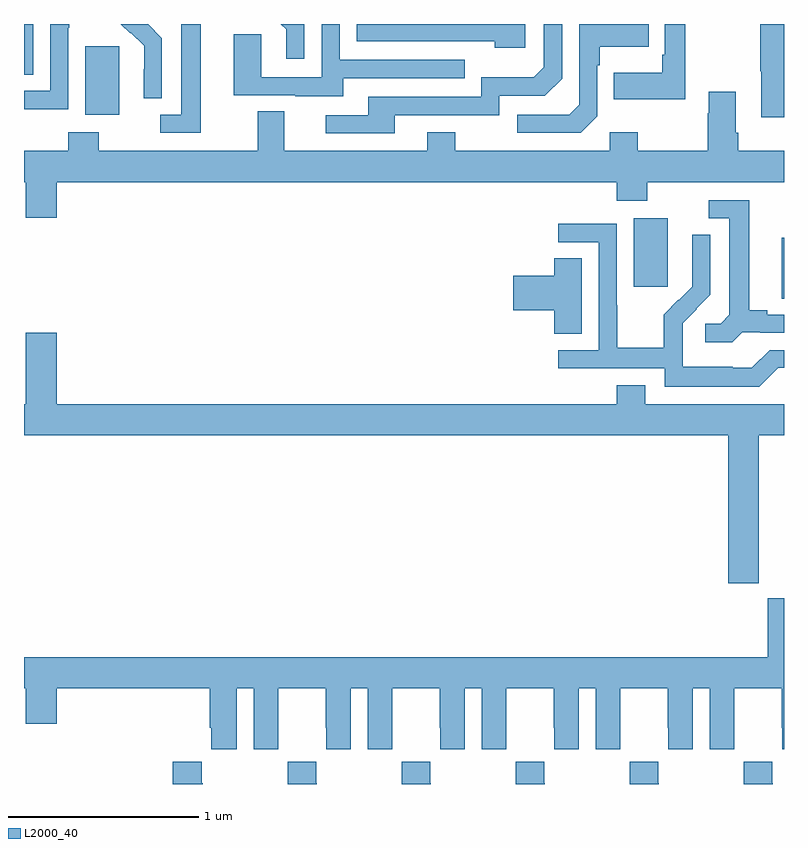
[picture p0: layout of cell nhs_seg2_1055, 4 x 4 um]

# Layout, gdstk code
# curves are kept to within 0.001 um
import gdstk
lib = gdstk.Library(unit=1e-6, precision=1e-09)
def R(c, l, rs):  # rectangles x0, y0, x1, y1
    for r in rs: c.add(gdstk.rectangle(r[:2], r[2:], *l))
def P(c, l, *ps):  # polygons
    for p in ps: c.add(gdstk.Polygon(p, *l))
L2000_40 = (2000, 40)

nhs_seg2_1055 = lib.new_cell('nhs_seg2_1055')
R(nhs_seg2_1055, L2000_40, [(168.989,648.355,169,648.675), (168.209,648.417,168.388,648.778), (165.323,649.322,165.502,649.683), (165,649.534,165.049,649.8)])
P(nhs_seg2_1055, L2000_40, [(168.481,649.8),(168.372,649.8),(168.372,649.639),(168.36,649.639),(168.36,649.543),(168.103,649.543),(168.103,649.403),(168.481,649.403)],
  [(167.638,649.8),(166.752,649.8),(166.752,649.71),(167.477,649.71),(167.477,649.676),(167.638,649.676)],
  [(165.726,649.726),(165.653,649.799),(165.654,649.8),(165.51,649.8),(165.558,649.752),(165.561,649.755),(165.632,649.685),(165.632,649.562),(165.63,649.562),(165.63,649.408),(165.726,649.408)],
  [(165.234,649.78),(165.237,649.78),(165.237,649.8),(165.138,649.8),(165.138,649.449),(165,649.449),(165,649.351),(165.234,649.351)],
  [(166.951,649.32),(167.502,649.32),(167.502,649.422),(167.742,649.422),(167.832,649.512),(167.832,649.8),(167.736,649.8),(167.736,649.572),(167.683,649.519),(167.406,649.519),(167.406,649.416),(166.811,649.416),(166.811,649.32),(166.587,649.32),(166.587,649.224),(166.951,649.224)],
  [(169,649.8),(168.874,649.8),(168.874,649.551),(168.881,649.551),(168.881,649.308),(169,649.308)],
  [(166.476,649.8),(166.352,649.8),(166.379,649.773),(166.379,649.617),(166.476,649.617)],
  [(165.931,649.8),(165.827,649.8),(165.827,649.323),(165.717,649.323),(165.717,649.227),(165.931,649.227)],
  [(168.018,649.314),(168.018,649.583),(168.031,649.583),(168.031,649.679),(168.287,649.679),(168.287,649.8),(167.922,649.8),(167.922,649.374),(167.871,649.323),(167.595,649.323),(167.595,649.227),(167.931,649.227)],
  [(166.681,649.515),(167.321,649.515),(167.321,649.611),(166.662,649.611),(166.662,649.8),(166.566,649.8),(166.566,649.521),(166.248,649.521),(166.248,649.745),(166.103,649.745),(166.103,649.425),(166.427,649.425),(166.427,649.421),(166.681,649.421)],
  [(165.172,648.968),(168.119,648.968),(168.119,648.869),(168.279,648.869),(168.279,648.968),(169,648.968),(169,649.132),(168.758,649.132),(168.758,649.228),(168.745,649.228),(168.745,649.444),(168.605,649.444),(168.605,649.331),(168.598,649.331),(168.598,649.132),(168.231,649.132),(168.231,649.231),(168.084,649.231),(168.084,649.132),(167.271,649.132),(167.271,649.231),(167.123,649.231),(167.123,649.132),(166.369,649.132),(166.369,649.34),(166.229,649.34),(166.229,649.132),(165.393,649.132),(165.393,649.231),(165.233,649.231),(165.233,649.132),(165,649.132),(165,648.968),(165.008,648.968),(165.008,648.78),(165.172,648.78)],
  [(168.78,648.177),(168.874,648.177),(168.874,648.174),(169,648.174),(169,648.27),(168.913,648.27),(168.913,648.293),(168.817,648.293),(168.817,648.873),(168.603,648.873),(168.603,648.777),(168.713,648.777),(168.713,648.269),(168.666,648.222),(168.585,648.222),(168.585,648.125),(168.728,648.125)],
  [(168.969,647.991),(169,647.991),(169,648.084),(168.924,648.084),(168.831,647.991),(168.731,647.991),(168.731,647.995),(168.468,647.995),(168.468,648.129),(168.466,648.129),(168.466,648.226),(168.612,648.374),(168.612,648.692),(168.516,648.692),(168.516,648.538),(168.518,648.538),(168.518,648.416),(168.447,648.345),(168.444,648.348),(168.367,648.271),(168.367,648.097),(168.123,648.097),(168.123,648.32),(168.12,648.32),(168.12,648.75),(167.811,648.75),(167.811,648.651),(168.024,648.651),(168.024,648.084),(167.811,648.084),(167.811,647.988),(168.372,647.988),(168.372,647.891),(168.869,647.891)],
  [(167.935,648.566),(167.792,648.566),(167.792,648.476),(167.574,648.476),(167.574,648.293),(167.792,648.293),(167.792,648.169),(167.935,648.169)],
  [(168.867,647.636),(169,647.636),(169,647.8),(168.271,647.8),(168.271,647.899),(168.119,647.899),(168.119,647.8),(165.172,647.8),(165.172,648.175),(165.008,648.175),(165.008,647.8),(165,647.8),(165,647.636),(168.707,647.636),(168.707,646.857),(168.867,646.857)],
  [(165,646.304),(165.008,646.304),(165.008,646.116),(165.172,646.116),(165.172,646.304),(165.977,646.304),(165.977,646.096),(165.986,646.096),(165.986,645.984),(166.12,645.984),(166.12,646.304),(166.208,646.304),(166.208,645.984),(166.338,645.984),(166.338,646.096),(166.339,646.096),(166.339,646.304),(166.589,646.304),(166.589,646.096),(166.59,646.096),(166.59,645.984),(166.72,645.984),(166.72,646.304),(166.808,646.304),(166.808,645.984),(166.938,645.984),(166.938,646.096),(166.939,646.096),(166.939,646.304),(167.189,646.304),(167.189,646.096),(167.19,646.096),(167.19,645.984),(167.32,645.984),(167.32,646.304),(167.408,646.304),(167.408,645.984),(167.538,645.984),(167.538,646.096),(167.539,646.096),(167.539,646.304),(167.789,646.304),(167.789,646.096),(167.79,646.096),(167.79,645.984),(167.92,645.984),(167.92,646.304),(168.008,646.304),(168.008,645.984),(168.138,645.984),(168.138,646.096),(168.139,646.096),(168.139,646.304),(168.389,646.304),(168.389,646.096),(168.39,646.096),(168.39,645.984),(168.52,645.984),(168.52,646.304),(168.608,646.304),(168.608,645.984),(168.738,645.984),(168.738,646.096),(168.739,646.096),(168.739,646.304),(168.989,646.304),(168.989,646.096),(168.99,646.096),(168.99,645.984),(169,645.984),(169,646.777),(168.914,646.777),(168.914,646.468),(165,646.468)],
  [(166.542,645.803),(166.539,645.803),(166.539,645.916),(166.389,645.916),(166.389,645.803),(166.387,645.803),(166.387,645.8),(166.542,645.8)],
  [(167.142,645.803),(167.139,645.803),(167.139,645.916),(166.989,645.916),(166.989,645.803),(166.987,645.803),(166.987,645.8),(167.142,645.8)],
  [(165.942,645.803),(165.935,645.803),(165.935,645.916),(165.782,645.916),(165.782,645.8),(165.942,645.8)],
  [(167.742,645.803),(167.739,645.803),(167.739,645.916),(167.589,645.916),(167.589,645.803),(167.587,645.803),(167.587,645.8),(167.742,645.8)],
  [(168.342,645.803),(168.339,645.803),(168.339,645.916),(168.189,645.916),(168.189,645.803),(168.187,645.803),(168.187,645.8),(168.342,645.8)],
  [(168.942,645.803),(168.939,645.803),(168.939,645.916),(168.789,645.916),(168.789,645.803),(168.787,645.803),(168.787,645.8),(168.942,645.8)])

lib.write_gds('nhs_seg2_1055.gds')
